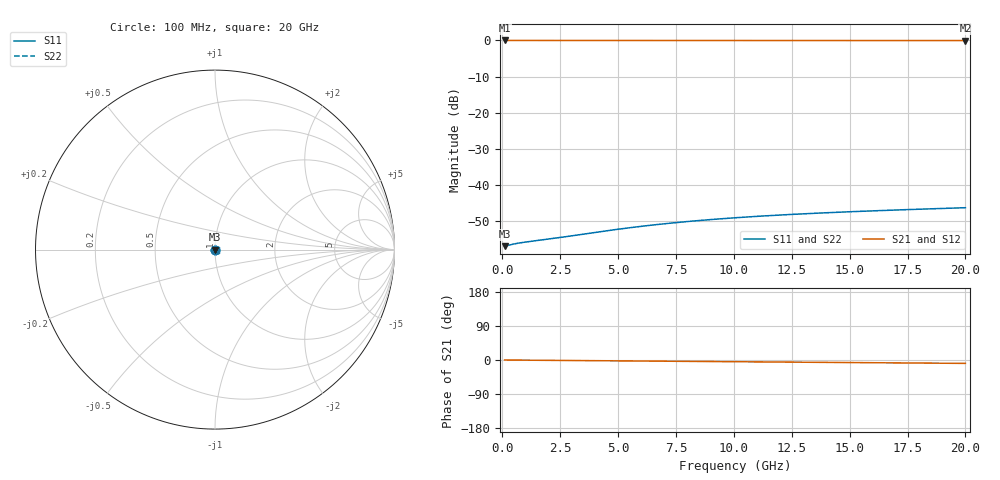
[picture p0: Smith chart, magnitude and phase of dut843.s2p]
! Touchstone file exported from HFSS 2026.1.0
!  File:  C:/ffzhzh/LocalFiles/Ansys_Project_Files/temp_train_TSV_843_1783184964_55132.aedt
!  Generated:  01:11:06 AM Jul  5, 2026
!  Design:  TSV
!  Project:  temp_train_TSV_843_1783184964_55132
! Variables:
!  h_bsmrdl = 2um
!  h_ox = 20um
!  h_rdl = 5um
!  h_sub = 99.26um
!  h_tmrdl = 5um
!  h_tsv = 99.26um
!  h_via = 3um
!  l_bsmrdl = 300um
!  l_sub = 405.66um
!  l_tmrdl = 200um
!  m_sub = 200um
!  pitch = 11.79um
!  r_tsv = 2.83um
!  s_tmrdl = 10um
!  w_bsmrdl = 18um
!  w_sub = 500um
!  w_tmrdl = 12um
!  x_tsv_center1 = 206um
!  x_tsv_center2 = 524um
!  x_tsv_center3 = 736um
!  x_tsv_center4 = 1054um
!  x_tsv_center5 = 1266um
!  x_tsv_center6 = 1584um
# GHz S MA R 50.000000
! Terminal data exported
! Port[1] = TSV1_1_T1
! Port[2] = TSV1_1_T2
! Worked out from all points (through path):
!   200 points, 100 MHz to 20 GHz, reference 50 ohm
!   highest |S21| = -0.01 dB at 100 MHz (marker M1); lowest = 0.0 dB at 20 GHz (marker M2)
!   group delay of S21, straight-line fit = 1.24 ps
!   lowest |S11| = -56.9 dB at 100 MHz (marker M3), VSWR 1.00, Z = 50.1 + j0.00593 ohm
!   |S11| at or under -10 dB: start of sweep to end of sweep
!   |S22| runs from -56.9 to -46.2 dB; largest |S21 - S12| = 3e-15
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0.1  0.001434 2.4  0.9986 -0.0  0.9986 -0.0  0.001434 2.4
! Gamma 0 0 0 0
! Port Impedance 50 0 50 0
0.2  0.001454 4.4  0.9986 -0.1  0.9986 -0.1  0.001454 4.4
0.5  0.001536 8.3  0.9985 -0.2  0.9985 -0.2  0.001536 8.3
0.6  0.001559 9.1  0.9985 -0.3  0.9985 -0.3  0.001559 9.1
0.8  0.001599 10.4  0.9984 -0.4  0.9984 -0.4  0.001599 10.4
1  0.001633 11.7  0.9984 -0.5  0.9984 -0.5  0.001633 11.7
2.2  0.001831 18.5  0.9983 -1.0  0.9983 -1.0  0.001831 18.5
3.5  0.002104 23.2  0.9981 -1.6  0.9981 -1.6  0.002104 23.2
4.4  0.002314 24.7  0.9979 -2.0  0.9979 -2.0  0.002314 24.7
5.2  0.002506 25.1  0.9978 -2.4  0.9978 -2.4  0.002506 25.1
6  0.002696 24.9  0.9976 -2.7  0.9976 -2.7  0.002696 24.9
6.8  0.00288 24.3  0.9974 -3.1  0.9974 -3.1  0.00288 24.3
7.6  0.003056 23.3  0.9973 -3.5  0.9973 -3.5  0.003056 23.3
8.4  0.003223 22.1  0.9971 -3.8  0.9971 -3.8  0.003224 22.1
9.2  0.003381 20.7  0.9969 -4.2  0.9969 -4.2  0.003381 20.7
10.1  0.003548 19.0  0.9967 -4.6  0.9967 -4.6  0.003548 19.0
10.9  0.003686 17.4  0.9966 -4.9  0.9966 -4.9  0.003686 17.4
11.7  0.003817 15.9  0.9964 -5.3  0.9964 -5.3  0.003817 15.9
13.4  0.00407 12.5  0.9961 -6.0  0.9961 -6.0  0.00407 12.5
15  0.004286 9.3  0.9959 -6.7  0.9959 -6.7  0.004286 9.3
16.7  0.004497 6.1  0.9956 -7.5  0.9956 -7.5  0.004497 6.1
20  0.004876 0.1  0.9952 -8.9  0.9952 -8.9  0.004876 0.1
